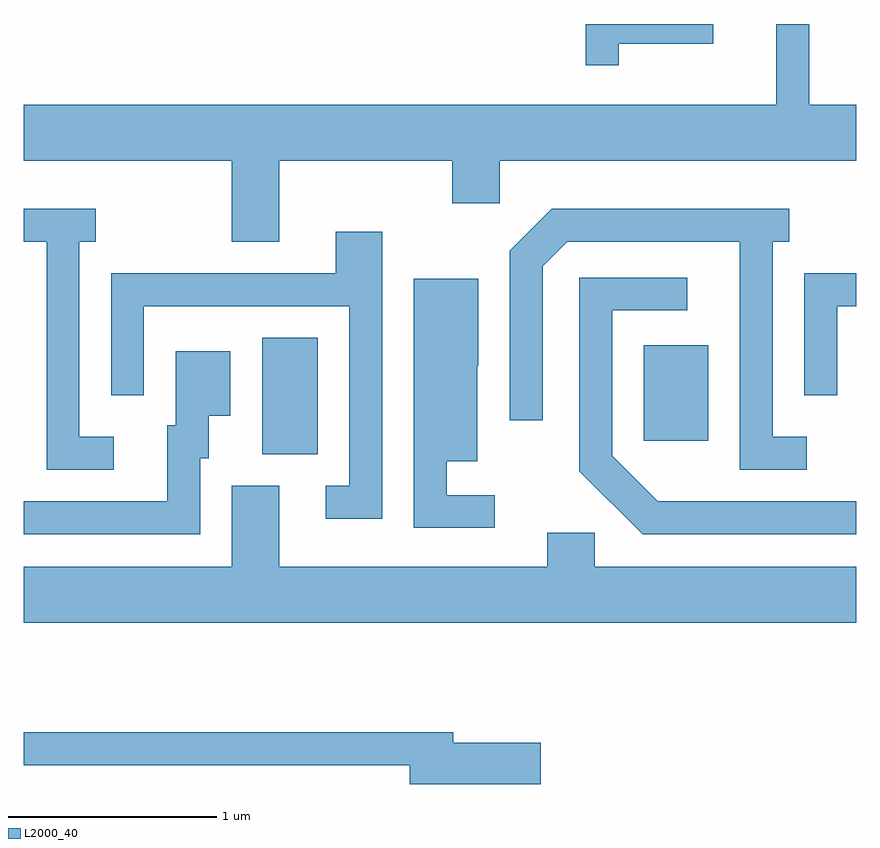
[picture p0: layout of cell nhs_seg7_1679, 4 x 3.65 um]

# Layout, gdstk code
import gdstk
lib = gdstk.Library(unit=1e-6, precision=1e-09)
def R(c, l, rs):  # rectangles x0, y0, x1, y1
    for r in rs: c.add(gdstk.rectangle(r[:2], r[2:], *l))
def P(c, l, *ps):  # polygons
    for p in ps: c.add(gdstk.Polygon(p, *l))
L2000_40 = (2000, 40)

nhs_seg7_1679 = lib.new_cell('nhs_seg7_1679')
R(nhs_seg7_1679, L2000_40, [(236.756,1766.186,237.024,1766.744), (238.591,1766.251,238.899,1766.709)])
P(nhs_seg7_1679, L2000_40, [(236.839,1767.596),(237.671,1767.596),(237.671,1767.391),(237.899,1767.391),(237.899,1767.596),(239.611,1767.596),(239.611,1767.864),(239.384,1767.864),(239.384,1768.252),(239.226,1768.252),(239.226,1767.864),(235.611,1767.864),(235.611,1767.596),(236.611,1767.596),(236.611,1767.206),(236.839,1767.206)],
  [(238.469,1768.156),(238.924,1768.156),(238.924,1768.252),(238.311,1768.252),(238.311,1768.053),(238.469,1768.053)],
  [(239.373,1766.269),(239.209,1766.269),(239.209,1767.206),(239.288,1767.206),(239.288,1767.364),(238.149,1767.364),(237.946,1767.162),(237.946,1766.348),(238.104,1766.348),(238.104,1767.089),(238.222,1767.206),(239.051,1767.206),(239.051,1766.111),(239.373,1766.111)],
  [(236.043,1766.269),(235.879,1766.269),(235.879,1767.206),(235.958,1767.206),(235.958,1767.364),(235.611,1767.364),(235.611,1767.206),(235.721,1767.206),(235.721,1766.111),(236.043,1766.111)],
  [(237.334,1767.254),(237.111,1767.254),(237.111,1767.054),(236.031,1767.054),(236.031,1766.468),(236.189,1766.468),(236.189,1766.896),(237.176,1766.896),(237.176,1766.034),(237.063,1766.034),(237.063,1765.876),(237.334,1765.876)],
  [(239.519,1766.896),(239.611,1766.896),(239.611,1767.054),(239.361,1767.054),(239.361,1766.468),(239.519,1766.468)],
  [(239.611,1765.959),(238.657,1765.959),(238.439,1766.177),(238.439,1766.876),(238.798,1766.876),(238.798,1767.034),(238.281,1767.034),(238.281,1766.104),(238.584,1765.801),(239.611,1765.801)],
  [(237.873,1765.989),(237.644,1765.989),(237.644,1766.151),(237.789,1766.151),(237.789,1766.61),(237.794,1766.61),(237.794,1767.029),(237.486,1767.029),(237.486,1765.831),(237.873,1765.831)],
  [(236.459,1766.166),(236.499,1766.166),(236.499,1766.371),(236.604,1766.371),(236.604,1766.679),(236.341,1766.679),(236.341,1766.324),(236.301,1766.324),(236.301,1765.959),(235.611,1765.959),(235.611,1765.801),(236.459,1765.801)],
  [(239.611,1765.644),(238.354,1765.644),(238.354,1765.809),(238.126,1765.809),(238.126,1765.644),(236.839,1765.644),(236.839,1766.034),(236.611,1766.034),(236.611,1765.644),(235.611,1765.644),(235.611,1765.376),(239.611,1765.376)],
  [(238.094,1764.799),(237.674,1764.799),(237.674,1764.849),(235.611,1764.849),(235.611,1764.691),(237.466,1764.691),(237.466,1764.601),(238.094,1764.601)])

lib.write_gds('nhs_seg7_1679.gds')
